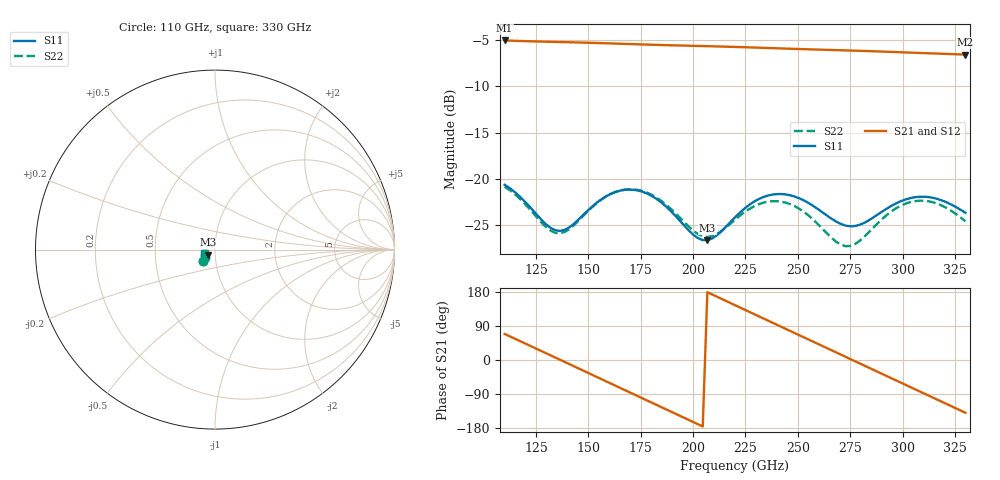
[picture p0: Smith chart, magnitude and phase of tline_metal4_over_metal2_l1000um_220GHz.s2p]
#  GHZ S DB R 50
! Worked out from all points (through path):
!   101 points, 110 GHz to 330 GHz, reference 50 ohm
!   highest |S21| = -5.02 dB at 110 GHz (marker M1); lowest = -6.5 dB at 330 GHz (marker M2)
!   group delay of S21, straight-line fit = 7.17 ps
!   lowest |S11| = -26.6 dB at 206.8 GHz (marker M3), VSWR 1.10, Z = 46.3 - j2.59 ohm
!   |S11| at or under -10 dB: start of sweep to end of sweep
!   |S22| runs from -27.3 to -20.9 dB; largest |S21 - S12| = 6.4e-14
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110  -20.64 -136.6  -5.02 68.8  -5.02 68.8  -20.85 -137.9
121  -22.78 -146.6  -5.10 40.5  -5.10 40.5  -23.03 -147.7
129.8  -24.93 -143.5  -5.15 17.9  -5.15 17.9  -25.22 -144.0
138.6  -25.53 -129.7  -5.20 -4.9  -5.20 -4.9  -25.75 -129.3
147.4  -23.94 -121.6  -5.25 -27.6  -5.25 -27.6  -24.04 -121.2
158.4  -21.89 -127.2  -5.32 -56.1  -5.32 -56.1  -21.91 -127.1
167.2  -21.19 -137.4  -5.39 -78.9  -5.39 -78.9  -21.17 -137.5
176  -21.41 -148.6  -5.45 -101.6  -5.45 -101.6  -21.33 -148.8
184.8  -22.55 -157.8  -5.51 -124.3  -5.51 -124.3  -22.38 -158.2
195.8  -25.07 -159.9  -5.57 -152.7  -5.57 -152.7  -24.69 -161.5
206.8  -26.64 -143.2  -5.64 178.9  -5.64 178.9  -26.29 -148.4
220  -24.16 -129.4  -5.72 144.7  -5.72 144.7  -24.42 -136.0
231  -22.23 -135.7  -5.80 116.3  -5.80 116.3  -22.78 -141.9
239.8  -21.65 -144.9  -5.86 93.5  -5.86 93.5  -22.41 -150.9
248.6  -21.92 -153.9  -5.93 70.8  -5.93 70.8  -22.97 -159.9
257.4  -22.93 -159.9  -5.99 48.1  -5.99 48.1  -24.43 -165.4
275  -25.13 -151.7  -6.11 2.7  -6.11 2.7  -27.26 -146.9
283.8  -24.50 -143.3  -6.17 -20.0  -6.17 -20.0  -25.81 -134.7
294.8  -22.90 -142.7  -6.26 -48.5  -6.26 -48.5  -23.50 -135.7
303.6  -22.09 -148.4  -6.33 -71.2  -6.33 -71.2  -22.52 -143.3
312.4  -21.97 -155.8  -6.41 -93.8  -6.41 -93.8  -22.43 -152.2
330  -23.66 -164.3  -6.54 -139.1  -6.54 -139.1  -24.59 -161.6
